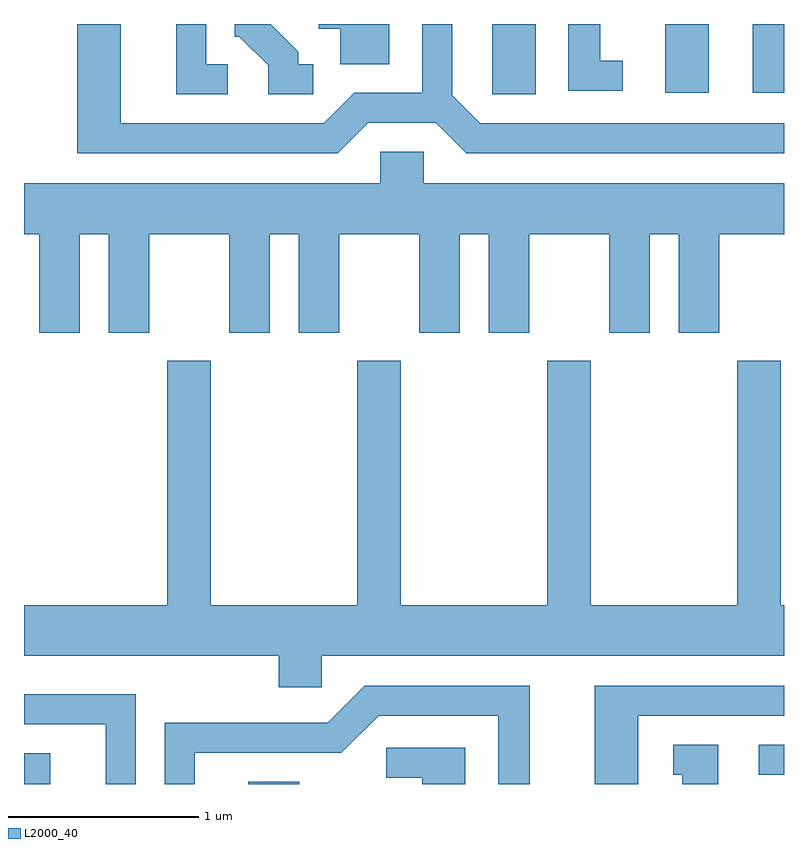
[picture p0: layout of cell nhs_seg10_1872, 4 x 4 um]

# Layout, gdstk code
import gdstk
lib = gdstk.Library(unit=1e-6, precision=1e-09)
def R(c, l, rs):  # rectangles x0, y0, x1, y1
    for r in rs: c.add(gdstk.rectangle(r[:2], r[2:], *l))
def P(c, l, *ps):  # polygons
    for p in ps: c.add(gdstk.Polygon(p, *l))
L2000_40 = (2000, 40)

nhs_seg10_1872 = lib.new_cell('nhs_seg10_1872')
R(nhs_seg10_1872, L2000_40, [(239.611,2166.522,239.749,2166.684), (240.791,2166.522,241.059,2166.534), (243.478,2166.571,243.611,2166.729), (242.076,2170.151,242.304,2170.522), (242.986,2170.161,243.214,2170.522), (243.446,2170.161,243.611,2170.522)])
P(nhs_seg10_1872, L2000_40, [(241.422,2170.001),(241.779,2170.001),(241.939,2169.841),(243.611,2169.841),(243.611,2169.999),(242.012,2169.999),(241.864,2170.147),(241.864,2170.522),(241.706,2170.522),(241.706,2170.159),(241.349,2170.159),(241.189,2169.999),(240.119,2169.999),(240.119,2170.522),(239.891,2170.522),(239.891,2169.841),(241.262,2169.841)],
  [(241.534,2170.522),(241.161,2170.522),(241.161,2170.496),(241.276,2170.496),(241.276,2170.311),(241.534,2170.311)],
  [(241.133,2170.309),(241.054,2170.309),(241.054,2170.377),(240.909,2170.522),(240.721,2170.522),(240.721,2170.456),(240.744,2170.456),(240.896,2170.304),(240.896,2170.151),(241.133,2170.151)],
  [(240.683,2170.309),(240.569,2170.309),(240.569,2170.522),(240.411,2170.522),(240.411,2170.151),(240.683,2170.151)],
  [(242.763,2170.329),(242.644,2170.329),(242.644,2170.522),(242.476,2170.522),(242.476,2170.171),(242.763,2170.171)],
  [(239.904,2169.416),(240.056,2169.416),(240.056,2168.896),(240.269,2168.896),(240.269,2169.416),(240.691,2169.416),(240.691,2168.896),(240.904,2168.896),(240.904,2169.416),(241.056,2169.416),(241.056,2168.896),(241.269,2168.896),(241.269,2169.416),(241.691,2169.416),(241.691,2168.896),(241.904,2168.896),(241.904,2169.416),(242.056,2169.416),(242.056,2168.896),(242.269,2168.896),(242.269,2169.416),(242.691,2169.416),(242.691,2168.896),(242.904,2168.896),(242.904,2169.416),(243.056,2169.416),(243.056,2168.896),(243.269,2168.896),(243.269,2169.416),(243.611,2169.416),(243.611,2169.684),(241.714,2169.684),(241.714,2169.849),(241.486,2169.849),(241.486,2169.684),(239.611,2169.684),(239.611,2169.416),(239.691,2169.416),(239.691,2168.896),(239.904,2168.896)],
  [(241.179,2167.196),(243.611,2167.196),(243.611,2167.464),(243.594,2167.464),(243.594,2168.749),(243.366,2168.749),(243.366,2167.464),(242.594,2167.464),(242.594,2168.749),(242.366,2168.749),(242.366,2167.464),(241.594,2167.464),(241.594,2168.749),(241.366,2168.749),(241.366,2167.464),(240.594,2167.464),(240.594,2168.749),(240.366,2168.749),(240.366,2167.464),(239.611,2167.464),(239.611,2167.196),(240.951,2167.196),(240.951,2167.031),(241.179,2167.031)],
  [(242.844,2166.881),(243.611,2166.881),(243.611,2167.039),(242.616,2167.039),(242.616,2166.522),(242.844,2166.522)],
  [(240.509,2166.686),(241.282,2166.686),(241.477,2166.881),(242.106,2166.881),(242.106,2166.522),(242.274,2166.522),(242.274,2167.039),(241.404,2167.039),(241.209,2166.844),(240.351,2166.844),(240.351,2166.522),(240.509,2166.522)],
  [(240.199,2166.994),(239.611,2166.994),(239.611,2166.836),(240.041,2166.836),(240.041,2166.522),(240.199,2166.522)],
  [(243.264,2166.729),(243.028,2166.729),(243.028,2166.571),(243.076,2166.571),(243.076,2166.522),(243.264,2166.522)],
  [(241.934,2166.714),(241.518,2166.714),(241.518,2166.556),(241.706,2166.556),(241.706,2166.522),(241.934,2166.522)])

lib.write_gds('nhs_seg10_1872.gds')
